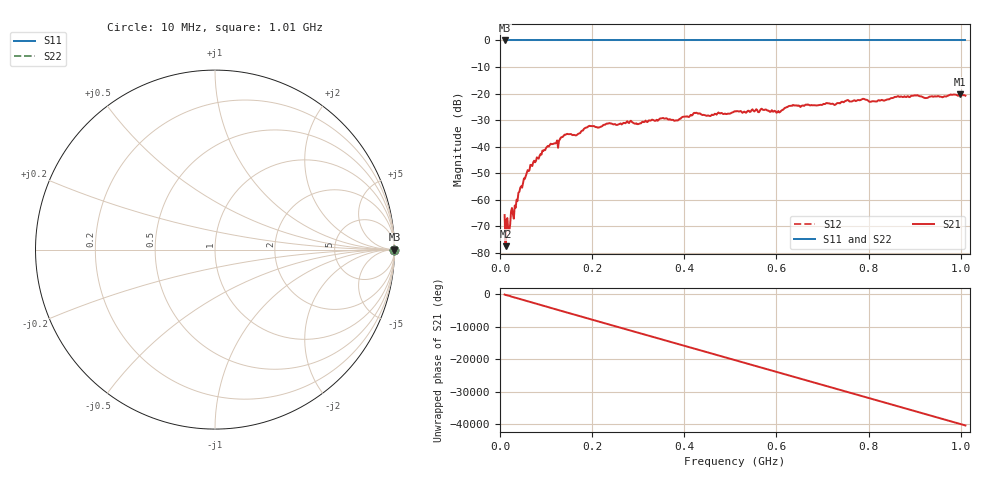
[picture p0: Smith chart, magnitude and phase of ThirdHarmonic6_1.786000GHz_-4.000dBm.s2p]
! 8/16/2025 9:35:40 PM
! C:\ANRITSUVNA\TEMP\TEMP.S2P
! CHANNEL.1
! TR.MEASUREMENT
! RAW.DATA
! RF.CORRECTION.OFF
! AVERAGING.OFF
! IF.BANDWIDTH: 5KHZ
! SWEEPTYPE:  FREQ.SWEEP(Linear)
! Reference Plane Port Info
! PORT:  PORT1  PORT2
! DISTANCE:  0  m  0  m
! TIME:  0  s  0  s
! PHASE.OFFSET:  0  deg.  0  deg.
! LOSS:  0  dB  0  dB
! REF.LOSS:  0  dB  0  dB
! REF.FREQ:  0  Hz  0  Hz
! Power Info
! POWER:  -20  dBm  -20  dBm
! EFF.POWER:  -20  dBm  -20  dBm
! SOURCE.ATTEN:  0  dB  0  dB
! TEST.ATTEN:  0  dB  0  dB
# GHZ S RI R 50.0
! FREQ.GHZ  S11RE  S11IM  S21RE  S21IM  S12RE  S12IM  S22RE  S22IM
!; PortSelection: Port_12
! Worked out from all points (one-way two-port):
!   501 points, 10 MHz to 1.01 GHz, reference 50 ohm
!   highest |S21| = -20.30 dB at 998 MHz (marker M1); lowest = -77.5 dB at 12 MHz (marker M2)
!   lowest |S11| = 0.0 dB at 10 MHz (marker M3)
!   |S11| at or under -10 dB: nowhere
!   |S22| runs from 0.0 to 0.0 dB; largest |S21 - S12| = 1.1
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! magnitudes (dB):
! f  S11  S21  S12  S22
! 10 MHz  0.0  -65.8  0.0  0.0
! 12 MHz  0.0  -77.5  0.0  0.0
! 16 MHz  0.0  -66.9  0.0  0.0
! 34 MHz  0.0  -63.0  0.0  0.0
! 44 MHz  0.0  -55.5  0.0  0.0
! 70 MHz  0.0  -47.3  0.0  0.0
! 106 MHz  0.0  -39.9  0.0  0.0
! 124 MHz  0.0  -37.7  0.0  0.0
! 142 MHz  0.0  -35.5  0.0  0.0
! 178 MHz  0.0  -34.0  0.0  0.0
! 196 MHz  0.0  -32.2  0.0  0.0
! 344 MHz  0.0  -29.9  0.0  0.0
! 382 MHz  0.0  -30.1  0.0  0.0
! 424 MHz  0.0  -27.3  0.0  0.0
! 452 MHz  0.0  -28.3  0.0  0.0
! 510 MHz  0.0  -26.7  0.0  0.0
! 604 MHz  0.0  -26.6  0.0  0.0
! 632 MHz  0.0  -24.6  0.0  0.0
! 678 MHz  0.0  -24.4  0.0  0.0
! 844 MHz  0.0  -22.2  0.0  0.0
! 998 MHz  0.0  -20.3  0.0  0.0
! 1.01 GHz  0.0  -20.8  0.0  0.0
